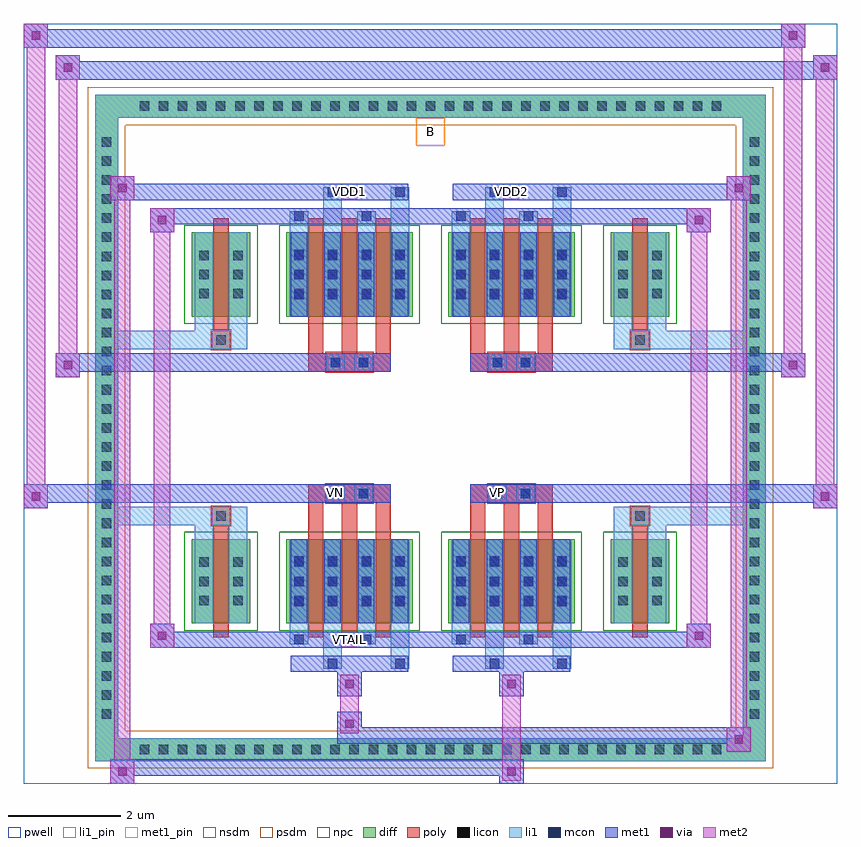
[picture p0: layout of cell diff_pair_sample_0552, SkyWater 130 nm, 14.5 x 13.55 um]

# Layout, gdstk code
import gdstk
lib = gdstk.Library(unit=1e-6, precision=5e-09)
def R(c, l, rs):  # rectangles x0, y0, x1, y1
    for r in rs: c.add(gdstk.rectangle(r[:2], r[2:], *l))
def A(c, l, x, y, w, h, nx, ny, dx, dy):  # array of equal rectangles
    R(c, l, [(x+i*dx, y+j*dy, x+i*dx+w, y+j*dy+h) for i in range(nx) for j in range(ny)])
def P(c, l, *ps):  # polygons
    for p in ps: c.add(gdstk.Polygon(p, *l))
pwell = (64, 44)
diff = (65, 20)
poly = (66, 20)
licon = (66, 44)
li1_pin = (67, 16)
li1 = (67, 20)
mcon = (67, 44)
met1_pin = (68, 16)
met1 = (68, 20)
via = (68, 44)
met2 = (69, 20)
nsdm = (93, 44)
psdm = (94, 20)
npc = (95, 20)

diff_pair_sample_0552 = lib.new_cell('diff_pair_sample_0552')
R(diff_pair_sample_0552, pwell, [(-7.25,-6.34,7.25,7.21), (-4.57,-4.53,-0.01,-0.805), (0.01,-4.53,4.57,-0.805), (-4.57,0.805,-0.01,4.53), (0.01,0.805,4.57,4.53)])
A(diff_pair_sample_0552, diff, -5.305, -5.94, 0.41, 0.41, 31, 2, 0.34, 11.47)
A(diff_pair_sample_0552, diff, -5.98, -5.305, 0.41, 0.41, 1, 31, 0, 0.34)
A(diff_pair_sample_0552, diff, 5.57, -5.305, 0.41, 0.41, 1, 31, 0, 0.34)
R(diff_pair_sample_0552, diff, [(-5.305,-5.94,5.305,-5.53), (-5.98,-5.305,-5.57,5.305), (5.57,-5.305,5.98,5.305), (-4.26,-3.485,-3.21,-1.985), (-2.57,-3.485,-0.32,-1.985), (0.32,-3.485,2.57,-1.985), (3.21,-3.485,4.26,-1.985), (-4.26,1.985,-3.21,3.485), (-2.57,1.985,-0.32,3.485), (0.32,1.985,2.57,3.485), (3.21,1.985,4.26,3.485), (-5.305,5.53,5.305,5.94)])
P(diff_pair_sample_0552, diff, [(5.98,5.94),(-5.98,5.94),(-5.98,-5.53),(-5.57,-5.53),(-5.57,5.53),(5.57,5.53),(5.57,-5.53),(-5.57,-5.53),(-5.98,-5.53),(-5.98,-5.94),(5.98,-5.94)])
A(diff_pair_sample_0552, poly, -2.18, -3.735, 0.27, 2, 3, 2, 0.6, 5.47)
A(diff_pair_sample_0552, poly, 0.71, -3.735, 0.27, 2, 3, 2, 0.6, 5.47)
A(diff_pair_sample_0552, poly, -2.18, -1.735, 0.27, 0.4, 3, 2, 0.6, 3.07)
A(diff_pair_sample_0552, poly, 0.71, -1.735, 0.27, 0.4, 3, 2, 0.6, 3.07)
R(diff_pair_sample_0552, poly, [(-3.87,-3.735,-3.6,-1.735), (3.6,-3.735,3.87,-1.735), (-3.9,-1.735,-3.57,-1.405), (-3.9,-1.735,-3.57,-1.405), (3.57,-1.735,3.9,-1.405), (3.57,-1.735,3.9,-1.405), (-2.18,-1.335,-0.71,-1.005), (-1.86,-1.335,-1.53,-1.005), (-1.36,-1.335,-1.03,-1.005), (0.71,-1.335,2.18,-1.005), (1.03,-1.335,1.36,-1.005), (1.53,-1.335,1.86,-1.005), (-2.18,1.005,-0.71,1.335), (-1.86,1.005,-1.53,1.335), (-1.36,1.005,-1.03,1.335), (0.71,1.005,2.18,1.335), (1.03,1.005,1.36,1.335), (1.53,1.005,1.86,1.335), (-3.9,1.405,-3.57,1.735), (-3.9,1.405,-3.57,1.735), (3.57,1.405,3.9,1.735), (3.57,1.405,3.9,1.735), (-3.87,1.735,-3.6,3.735), (3.6,1.735,3.87,3.735)])
A(diff_pair_sample_0552, licon, -5.185, -5.82, 0.17, 0.17, 31, 2, 0.34, 11.47)
A(diff_pair_sample_0552, licon, -5.86, -5.185, 0.17, 0.17, 1, 31, 0, 0.34)
A(diff_pair_sample_0552, licon, 5.69, -5.185, 0.17, 0.17, 1, 31, 0, 0.34)
A(diff_pair_sample_0552, licon, -4.12, -3.16, 0.17, 0.17, 1, 3, 0, 0.34)
A(diff_pair_sample_0552, licon, -3.52, -3.16, 0.17, 0.17, 1, 3, 0, 0.34)
A(diff_pair_sample_0552, licon, -2.43, -3.16, 0.17, 0.17, 4, 3, 0.6, 0.34)
A(diff_pair_sample_0552, licon, 0.46, -3.16, 0.17, 0.17, 4, 3, 0.6, 0.34)
A(diff_pair_sample_0552, licon, 3.35, -3.16, 0.17, 0.17, 1, 3, 0, 0.34)
A(diff_pair_sample_0552, licon, 3.95, -3.16, 0.17, 0.17, 1, 3, 0, 0.34)
A(diff_pair_sample_0552, licon, -4.12, 2.31, 0.17, 0.17, 1, 3, 0, 0.34)
A(diff_pair_sample_0552, licon, -3.52, 2.31, 0.17, 0.17, 1, 3, 0, 0.34)
A(diff_pair_sample_0552, licon, -2.43, 2.31, 0.17, 0.17, 4, 3, 0.6, 0.34)
A(diff_pair_sample_0552, licon, 0.46, 2.31, 0.17, 0.17, 4, 3, 0.6, 0.34)
A(diff_pair_sample_0552, licon, 3.35, 2.31, 0.17, 0.17, 1, 3, 0, 0.34)
A(diff_pair_sample_0552, licon, 3.95, 2.31, 0.17, 0.17, 1, 3, 0, 0.34)
R(diff_pair_sample_0552, licon, [(-3.82,-1.655,-3.65,-1.485), (3.65,-1.655,3.82,-1.485), (-1.78,-1.255,-1.61,-1.085), (-1.28,-1.255,-1.11,-1.085), (1.11,-1.255,1.28,-1.085), (1.61,-1.255,1.78,-1.085), (-1.78,1.085,-1.61,1.255), (-1.28,1.085,-1.11,1.255), (1.11,1.085,1.28,1.255), (1.61,1.085,1.78,1.255), (-3.82,1.485,-3.65,1.655), (3.65,1.485,3.82,1.655)])
R(diff_pair_sample_0552, li1_pin, [(-0.25,5.03,0.25,5.53)])
A(diff_pair_sample_0552, li1, -5.265, -5.9, 0.33, 0.33, 31, 2, 0.34, 11.47)
A(diff_pair_sample_0552, li1, -5.94, -5.265, 0.33, 0.33, 1, 31, 0, 0.34)
A(diff_pair_sample_0552, li1, 5.61, -5.265, 0.33, 0.33, 1, 31, 0, 0.34)
A(diff_pair_sample_0552, li1, -2.51, -3.485, 0.33, 1.5, 4, 2, 0.6, 5.47)
A(diff_pair_sample_0552, li1, 0.38, -3.485, 0.33, 1.5, 4, 2, 0.6, 5.47)
A(diff_pair_sample_0552, li1, -4.2, -3.24, 0.33, 0.33, 1, 3, 0, 0.34)
A(diff_pair_sample_0552, li1, -3.6, -3.24, 0.33, 0.33, 1, 3, 0, 0.34)
A(diff_pair_sample_0552, li1, -2.51, -3.24, 0.33, 0.33, 4, 3, 0.6, 0.34)
A(diff_pair_sample_0552, li1, 0.38, -3.24, 0.33, 0.33, 4, 3, 0.6, 0.34)
A(diff_pair_sample_0552, li1, 3.27, -3.24, 0.33, 0.33, 1, 3, 0, 0.34)
A(diff_pair_sample_0552, li1, 3.87, -3.24, 0.33, 0.33, 1, 3, 0, 0.34)
A(diff_pair_sample_0552, li1, -2.43, -3.18, 0.17, 0.17, 4, 3, 0.6, 0.36)
A(diff_pair_sample_0552, li1, -2.43, -3.18, 0.17, 0.89, 4, 2, 0.6, 5.47)
A(diff_pair_sample_0552, li1, 0.46, -3.18, 0.17, 0.17, 4, 3, 0.6, 0.36)
A(diff_pair_sample_0552, li1, 0.46, -3.18, 0.17, 0.89, 4, 2, 0.6, 5.47)
A(diff_pair_sample_0552, li1, -4.2, 2.23, 0.33, 0.33, 1, 3, 0, 0.34)
A(diff_pair_sample_0552, li1, -3.6, 2.23, 0.33, 0.33, 1, 3, 0, 0.34)
A(diff_pair_sample_0552, li1, -2.51, 2.23, 0.33, 0.33, 4, 3, 0.6, 0.34)
A(diff_pair_sample_0552, li1, 0.38, 2.23, 0.33, 0.33, 4, 3, 0.6, 0.34)
A(diff_pair_sample_0552, li1, 3.27, 2.23, 0.33, 0.33, 1, 3, 0, 0.34)
A(diff_pair_sample_0552, li1, 3.87, 2.23, 0.33, 0.33, 1, 3, 0, 0.34)
A(diff_pair_sample_0552, li1, -2.43, 2.29, 0.17, 0.17, 4, 3, 0.6, 0.36)
A(diff_pair_sample_0552, li1, 0.46, 2.29, 0.17, 0.17, 4, 3, 0.6, 0.36)
R(diff_pair_sample_0552, li1, [(-5.98,-5.94,-5.57,-5.53), (-5.98,-5.94,-5.57,-5.53), (-5.57,-5.94,5.57,-5.53), (5.57,-5.94,5.98,-5.53), (5.57,-5.94,5.98,-5.53), (-5.98,-5.53,-5.57,5.53), (5.57,-5.53,5.98,5.53), (-1.91,-4.29,-1.58,-3.485), (-1.83,-4.29,-1.66,-4.12), (-0.71,-4.29,-0.38,-3.485), (-0.63,-4.29,-0.46,-4.12), (0.98,-4.29,1.31,-3.485), (1.06,-4.29,1.23,-4.12), (2.18,-4.29,2.51,-3.485), (2.26,-4.29,2.43,-4.12), (-2.51,-3.86,-2.18,-3.485), (-2.43,-3.86,-2.26,-3.69), (-1.31,-3.86,-0.98,-3.485), (-1.23,-3.86,-1.06,-3.69), (0.38,-3.86,0.71,-3.485), (0.46,-3.86,0.63,-3.69), (1.58,-3.86,1.91,-3.485), (1.66,-3.86,1.83,-3.69), (-4.2,-3.485,-3.87,-1.985), (-3.6,-3.485,-3.27,-1.985), (3.27,-3.485,3.6,-1.985), (3.87,-3.485,4.2,-1.985), (-4.2,-1.985,-3.87,-1.405), (-3.6,-1.985,-3.27,-1.405), (3.27,-1.985,3.6,-1.405), (3.87,-1.985,4.2,-1.405), (-5.98,-1.735,-3.9,-1.405), (-4.2,-1.735,-3.9,-1.405), (-3.9,-1.735,-3.57,-1.405), (-3.57,-1.735,-3.27,-1.405), (3.27,-1.735,3.57,-1.405), (3.57,-1.735,3.9,-1.405), (3.57,-1.735,5.98,-1.405), (3.9,-1.735,4.2,-1.405), (-1.86,-1.335,-1.53,-1.005), (-1.36,-1.335,-1.03,-1.005), (1.03,-1.335,1.36,-1.005), (1.53,-1.335,1.86,-1.005), (-1.86,1.005,-1.53,1.335), (-1.36,1.005,-1.03,1.335), (1.03,1.005,1.36,1.335), (1.53,1.005,1.86,1.335), (-5.98,1.405,-3.9,1.735), (-4.2,1.405,-3.9,1.735), (-4.2,1.405,-3.87,1.985), (-3.9,1.405,-3.57,1.735), (-3.6,1.405,-3.27,1.985), (-3.57,1.405,-3.27,1.735), (3.27,1.405,3.57,1.735), (3.27,1.405,3.6,1.985), (3.57,1.405,3.9,1.735), (3.57,1.405,5.98,1.735), (3.87,1.405,4.2,1.985), (3.9,1.405,4.2,1.735), (-4.2,1.985,-3.87,3.485), (-3.6,1.985,-3.27,3.485), (3.27,1.985,3.6,3.485), (3.87,1.985,4.2,3.485), (-2.51,3.485,-2.18,3.86), (-1.91,3.485,-1.58,4.29), (-1.31,3.485,-0.98,3.86), (-0.71,3.485,-0.38,4.29), (0.38,3.485,0.71,3.86), (0.98,3.485,1.31,4.29), (1.58,3.485,1.91,3.86), (2.18,3.485,2.51,4.29), (-2.43,3.69,-2.26,3.86), (-1.23,3.69,-1.06,3.86), (0.46,3.69,0.63,3.86), (1.66,3.69,1.83,3.86), (-1.83,4.12,-1.66,4.29), (-0.63,4.12,-0.46,4.29), (1.06,4.12,1.23,4.29), (2.26,4.12,2.43,4.29), (-5.98,5.53,-5.57,5.94), (-5.98,5.53,-5.57,5.94), (-5.57,5.53,5.57,5.94), (5.57,5.53,5.98,5.94), (5.57,5.53,5.98,5.94)])
A(diff_pair_sample_0552, mcon, -2.43, -3.18, 0.17, 0.17, 4, 3, 0.6, 0.36)
A(diff_pair_sample_0552, mcon, 0.46, -3.18, 0.17, 0.17, 4, 3, 0.6, 0.36)
A(diff_pair_sample_0552, mcon, -2.43, 2.29, 0.17, 0.17, 4, 3, 0.6, 0.36)
A(diff_pair_sample_0552, mcon, 0.46, 2.29, 0.17, 0.17, 4, 3, 0.6, 0.36)
R(diff_pair_sample_0552, mcon, [(-1.83,-4.29,-1.66,-4.12), (-0.63,-4.29,-0.46,-4.12), (1.06,-4.29,1.23,-4.12), (2.26,-4.29,2.43,-4.12), (-2.43,-3.86,-2.26,-3.69), (-1.23,-3.86,-1.06,-3.69), (0.46,-3.86,0.63,-3.69), (1.66,-3.86,1.83,-3.69), (-1.78,-1.255,-1.61,-1.085), (-1.28,-1.255,-1.11,-1.085), (1.11,-1.255,1.28,-1.085), (1.61,-1.255,1.78,-1.085), (-1.78,1.085,-1.61,1.255), (-1.28,1.085,-1.11,1.255), (1.11,1.085,1.28,1.255), (1.61,1.085,1.78,1.255), (-2.43,3.69,-2.26,3.86), (-1.23,3.69,-1.06,3.86), (0.46,3.69,0.63,3.86), (1.66,3.69,1.83,3.86), (-1.83,4.12,-1.66,4.29), (-0.63,4.12,-0.46,4.29), (1.06,4.12,1.23,4.29), (2.26,4.12,2.43,4.29)])
R(diff_pair_sample_0552, met1_pin, [(-1.58,-3.9,-1.31,-3.63), (-1.83,-1.295,-1.56,-1.025), (1.06,-1.295,1.33,-1.025), (-1.58,4.08,-1.31,4.35), (1.31,4.08,1.58,4.35)])
A(diff_pair_sample_0552, met1, -2.49, -3.485, 0.29, 1.5, 4, 2, 0.6, 5.47)
A(diff_pair_sample_0552, met1, 0.4, -3.485, 0.29, 1.5, 4, 2, 0.6, 5.47)
A(diff_pair_sample_0552, met1, -2.49, -3.24, 0.29, 0.29, 4, 3, 0.6, 0.36)
A(diff_pair_sample_0552, met1, 0.4, -3.24, 0.29, 0.29, 4, 3, 0.6, 0.36)
A(diff_pair_sample_0552, met1, -2.49, 2.23, 0.29, 0.29, 4, 3, 0.6, 0.36)
A(diff_pair_sample_0552, met1, 0.4, 2.23, 0.29, 0.29, 4, 3, 0.6, 0.36)
R(diff_pair_sample_0552, met1, [(-5.71,-6.34,-5.28,-5.91), (1.23,-6.34,1.66,-5.91), (-5.71,-6.2,1.66,-5.91), (5.28,-5.77,5.71,-5.34), (-1.66,-5.63,5.71,-5.34), (-1.66,-5.49,-1.23,-5.06), (-1.66,-4.78,-1.23,-4.35), (1.23,-4.78,1.66,-4.35), (-2.49,-4.35,-0.4,-4.06), (-1.89,-4.35,-1.6,-4.06), (-0.69,-4.35,-0.4,-4.06), (0.4,-4.35,2.49,-4.06), (1,-4.35,1.29,-4.06), (2.2,-4.35,2.49,-4.06), (-5,-3.92,-4.57,-3.49), (-5,-3.92,-2.49,-3.63), (-2.49,-3.92,-2.2,-3.63), (-2.49,-3.92,-0.4,-3.63), (-1.29,-3.92,-1,-3.63), (-0.4,-3.92,0.4,-3.63), (0.4,-3.92,0.69,-3.63), (0.4,-3.92,2.49,-3.63), (1.6,-3.92,1.89,-3.63), (2.49,-3.92,5,-3.63), (4.57,-3.92,5,-3.49), (-7.25,-1.435,-6.82,-1.005), (6.82,-1.435,7.25,-1.005), (-7.25,-1.335,-0.71,-1.005), (-2.18,-1.335,-0.71,-1.005), (0.71,-1.335,2.18,-1.005), (0.71,-1.335,7.25,-1.005), (-1.84,-1.315,-1.55,-1.025), (-1.34,-1.315,-1.05,-1.025), (1.05,-1.315,1.34,-1.025), (1.55,-1.315,1.84,-1.025), (-6.68,0.905,-6.25,1.335), (6.25,0.905,6.68,1.335), (-6.68,1.005,-2.18,1.335), (-2.18,1.005,-0.71,1.335), (0.71,1.005,2.18,1.335), (2.18,1.005,6.68,1.335), (-1.84,1.025,-1.55,1.315), (-1.34,1.025,-1.05,1.315), (1.05,1.025,1.34,1.315), (1.55,1.025,1.84,1.315), (-5,3.49,-4.57,3.92), (4.57,3.49,5,3.92), (-5,3.63,-2.49,3.92), (-2.49,3.63,-2.2,3.92), (-2.49,3.63,-0.4,3.92), (-1.29,3.63,-1,3.92), (-0.4,3.63,0.4,3.92), (0.4,3.63,0.69,3.92), (0.4,3.63,2.49,3.92), (1.6,3.63,1.89,3.92), (2.49,3.63,5,3.92), (-5.71,4.06,-5.28,4.49), (-5.71,4.06,-2.49,4.35), (-2.49,4.06,-0.4,4.35), (-1.89,4.06,-1.6,4.35), (-0.69,4.06,-0.4,4.35), (0.4,4.06,2.49,4.35), (1,4.06,1.29,4.35), (2.2,4.06,2.49,4.35), (2.49,4.06,5.71,4.35), (5.28,4.06,5.71,4.49), (-6.68,6.21,-6.25,6.64), (-6.68,6.21,-4.57,6.54), (-4.57,6.21,4.57,6.54), (4.57,6.21,7.25,6.54), (6.82,6.21,7.25,6.64), (-7.25,6.78,-6.82,7.21), (-7.25,6.78,-4.57,7.11), (-4.57,6.78,4.57,7.11), (4.57,6.78,6.68,7.11), (6.25,6.78,6.68,7.21)])
R(diff_pair_sample_0552, via, [(-5.57,-6.2,-5.42,-6.05), (1.37,-6.2,1.52,-6.05), (5.42,-5.63,5.57,-5.48), (-1.52,-5.35,-1.37,-5.2), (-1.52,-4.64,-1.37,-4.49), (1.37,-4.64,1.52,-4.49), (-4.86,-3.78,-4.71,-3.63), (4.71,-3.78,4.86,-3.63), (-7.11,-1.295,-6.96,-1.145), (6.96,-1.295,7.11,-1.145), (-6.54,1.045,-6.39,1.195), (6.39,1.045,6.54,1.195), (-4.86,3.63,-4.71,3.78), (4.71,3.63,4.86,3.78), (-5.57,4.2,-5.42,4.35), (5.42,4.2,5.57,4.35), (-6.54,6.35,-6.39,6.5), (6.96,6.35,7.11,6.5), (-7.11,6.92,-6.96,7.07), (6.39,6.92,6.54,7.07)])
R(diff_pair_sample_0552, met2, [(-5.71,-6.34,-5.28,-5.91), (-5.64,-6.34,-5.35,4.49), (-5.35,-6.34,-5.28,-5.91), (-5.66,-6.29,-5.33,-5.96), (1.28,-6.29,1.61,-5.96), (1.28,-5.96,1.61,-4.73), (5.28,-5.77,5.71,-5.34), (5.35,-5.77,5.64,4.49), (5.64,-5.77,5.71,-5.34), (5.33,-5.72,5.66,-5.39), (-1.61,-5.44,-1.28,-5.11), (-1.61,-5.11,-1.28,-4.73), (-1.61,-4.73,-1.28,-4.4), (1.28,-4.73,1.61,-4.4), (-5,-3.92,-4.57,-3.49), (-4.93,-3.92,-4.64,3.92), (-4.64,-3.92,-4.57,-3.49), (4.57,-3.92,5,-3.49), (4.64,-3.92,4.93,3.92), (4.93,-3.92,5,-3.49), (-4.95,-3.87,-4.62,-3.54), (4.62,-3.87,4.95,-3.54), (-7.25,-1.435,-6.82,-1.005), (-7.2,-1.435,-6.87,7.21), (-6.87,-1.435,-6.82,-1.005), (6.82,-1.435,7.25,-1.005), (6.87,-1.435,7.2,6.64), (7.2,-1.435,7.25,-1.005), (-7.2,-1.385,-6.87,-1.055), (6.87,-1.385,7.2,-1.055), (-6.68,0.905,-6.25,1.335), (-6.63,0.905,-6.3,6.64), (-6.3,0.905,-6.25,1.335), (6.25,0.905,6.68,1.335), (6.3,0.905,6.63,7.21), (6.63,0.905,6.68,1.335), (-6.63,0.955,-6.3,1.285), (6.3,0.955,6.63,1.285), (-5,3.49,-4.57,3.92), (-4.64,3.49,-4.57,3.92), (4.57,3.49,5,3.92), (4.93,3.49,5,3.92), (-4.95,3.54,-4.62,3.87), (4.62,3.54,4.95,3.87), (-5.71,4.06,-5.28,4.49), (-5.35,4.06,-5.28,4.49), (5.28,4.06,5.71,4.49), (5.64,4.06,5.71,4.49), (-5.66,4.11,-5.33,4.44), (5.33,4.11,5.66,4.44), (-6.68,6.21,-6.25,6.64), (-6.3,6.21,-6.25,6.64), (6.82,6.21,7.25,6.64), (7.2,6.21,7.25,6.64), (-6.63,6.26,-6.3,6.59), (6.87,6.26,7.2,6.59), (-7.25,6.78,-6.82,7.21), (-6.87,6.78,-6.82,7.21), (6.25,6.78,6.68,7.21), (6.63,6.78,6.68,7.21), (-7.2,6.83,-6.87,7.16), (6.3,6.83,6.63,7.16)])
R(diff_pair_sample_0552, nsdm, [(-4.39,-3.615,-3.08,-1.855), (-2.7,-3.615,-0.19,-1.855), (0.19,-3.615,2.7,-1.855), (3.08,-3.615,4.39,-1.855), (-4.39,1.855,-3.08,3.615), (-2.7,1.855,-0.19,3.615), (0.19,1.855,2.7,3.615), (3.08,1.855,4.39,3.615)])
P(diff_pair_sample_0552, psdm, [(6.11,6.07),(-6.11,6.07),(-6.11,-5.4),(-5.44,-5.4),(-5.44,5.4),(5.44,5.4),(5.44,-5.4),(-5.44,-5.4),(-6.11,-5.4),(-6.11,-6.07),(6.11,-6.07)])
R(diff_pair_sample_0552, npc, [(-3.92,-1.755,-3.55,-1.385), (3.55,-1.755,3.92,-1.385), (-1.88,-1.355,-1.51,-0.985), (-1.88,-1.355,-1.01,-0.985), (-1.88,-1.355,-1.01,-0.985), (-1.38,-1.355,-1.01,-0.985), (1.01,-1.355,1.38,-0.985), (1.01,-1.355,1.88,-0.985), (1.01,-1.355,1.88,-0.985), (1.51,-1.355,1.88,-0.985), (-1.88,0.985,-1.51,1.355), (-1.88,0.985,-1.01,1.355), (-1.88,0.985,-1.01,1.355), (-1.38,0.985,-1.01,1.355), (1.01,0.985,1.38,1.355), (1.01,0.985,1.88,1.355), (1.01,0.985,1.88,1.355), (1.51,0.985,1.88,1.355), (-3.92,1.385,-3.55,1.755), (3.55,1.385,3.92,1.755)])
diff_pair_sample_0552.add(gdstk.Label('VTAIL', (-1.445,-3.765), layer=68, texttype=5))
diff_pair_sample_0552.add(gdstk.Label('VN', (-1.695,-1.16), layer=68, texttype=5))
diff_pair_sample_0552.add(gdstk.Label('VP', (1.195,-1.16), layer=68, texttype=5))
diff_pair_sample_0552.add(gdstk.Label('B', (0,5.28), layer=67, texttype=5))
diff_pair_sample_0552.add(gdstk.Label('VDD2', (1.445,4.215), layer=68, texttype=5))
diff_pair_sample_0552.add(gdstk.Label('VDD1', (-1.445,4.215), layer=68, texttype=5))

lib.write_gds('diff_pair_sample_0552.gds')
